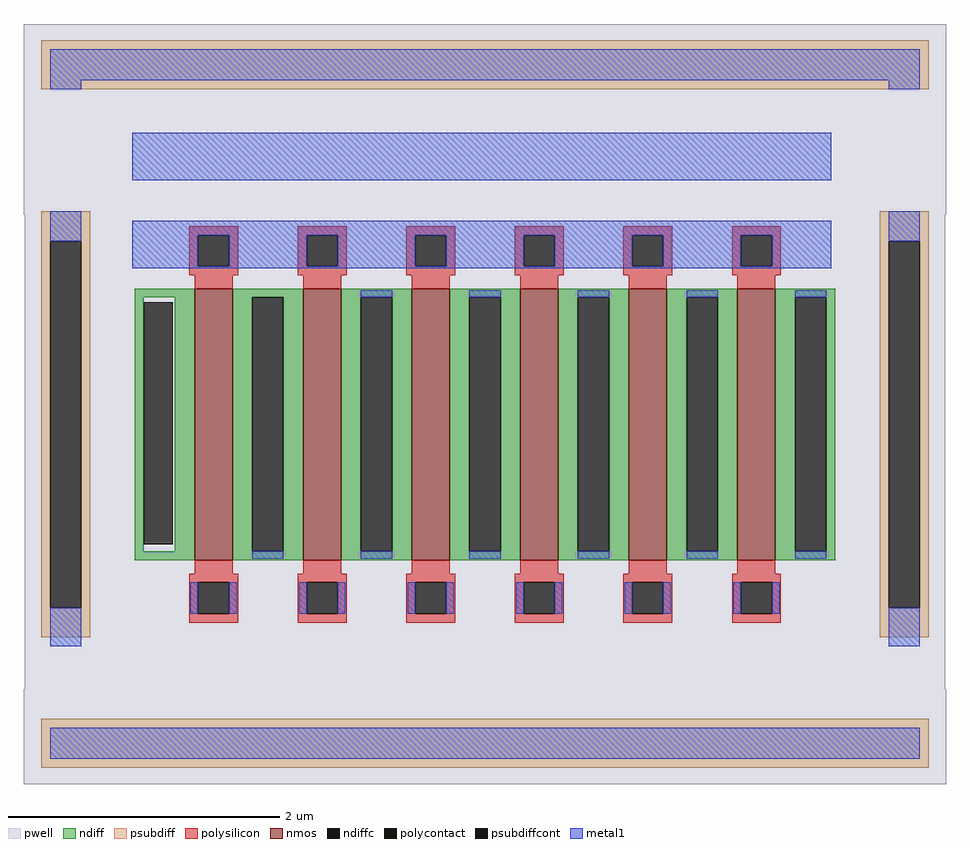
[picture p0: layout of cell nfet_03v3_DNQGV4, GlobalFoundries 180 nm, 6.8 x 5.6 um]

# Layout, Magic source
magic
tech gf180mcuD
magscale 1 10
<< pwell >>
rect -680 310 680 590
rect -678 -390 678 310
rect -680 -530 680 -390
<< nmos >>
rect -428 -200 -372 200
rect -268 -200 -212 200
rect -108 -200 -52 200
rect 52 -200 108 200
rect 212 -200 268 200
rect 372 -200 428 200
<< ndiff >>
rect -516 187 -428 200
rect -516 -187 -503 187
rect -457 -187 -428 187
rect -516 -200 -428 -187
rect -372 187 -268 200
rect -372 -187 -343 187
rect -297 -187 -268 187
rect -372 -200 -268 -187
rect -212 187 -108 200
rect -212 -187 -183 187
rect -137 -187 -108 187
rect -212 -200 -108 -187
rect -52 187 52 200
rect -52 -187 -23 187
rect 23 -187 52 187
rect -52 -200 52 -187
rect 108 187 212 200
rect 108 -187 137 187
rect 183 -187 212 187
rect 108 -200 212 -187
rect 268 187 372 200
rect 268 -187 297 187
rect 343 -187 372 187
rect 268 -200 372 -187
rect 428 187 516 200
rect 428 -187 457 187
rect 503 -187 516 187
rect 428 -200 516 -187
<< ndiffc >>
rect -503 -177 -460 180
rect -343 -187 -297 187
rect -183 -187 -137 187
rect -23 -187 23 187
rect 137 -187 183 187
rect 297 -187 343 187
rect 457 -187 503 187
<< psubdiff >>
rect -654 494 654 566
rect -654 270 -582 314
rect -654 -270 -641 270
rect -595 -270 -582 270
rect 582 270 654 314
rect -654 -314 -582 -270
rect 582 -270 595 270
rect 641 -270 654 270
rect 582 -314 654 -270
rect -654 -506 654 -434
<< psubdiffcont >>
rect -641 -270 -595 270
rect 595 -270 641 270
<< polysilicon >>
rect -436 279 -364 292
rect -436 233 -423 279
rect -377 233 -364 279
rect -436 220 -364 233
rect -276 279 -204 292
rect -276 233 -263 279
rect -217 233 -204 279
rect -276 220 -204 233
rect -116 279 -44 292
rect -116 233 -103 279
rect -57 233 -44 279
rect -116 220 -44 233
rect 44 279 116 292
rect 44 233 57 279
rect 103 233 116 279
rect 44 220 116 233
rect 204 279 276 292
rect 204 233 217 279
rect 263 233 276 279
rect 204 220 276 233
rect 364 279 436 292
rect 364 233 377 279
rect 423 233 436 279
rect 364 220 436 233
rect -428 200 -372 220
rect -268 200 -212 220
rect -108 200 -52 220
rect 52 200 108 220
rect 212 200 268 220
rect 372 200 428 220
rect -428 -220 -372 -200
rect -268 -220 -212 -200
rect -108 -220 -52 -200
rect 52 -220 108 -200
rect 212 -220 268 -200
rect 372 -220 428 -200
rect -436 -233 -364 -220
rect -436 -279 -423 -233
rect -377 -279 -364 -233
rect -436 -292 -364 -279
rect -276 -233 -204 -220
rect -276 -279 -263 -233
rect -217 -279 -204 -233
rect -276 -292 -204 -279
rect -116 -233 -44 -220
rect -116 -279 -103 -233
rect -57 -279 -44 -233
rect -116 -292 -44 -279
rect 44 -233 116 -220
rect 44 -279 57 -233
rect 103 -279 116 -233
rect 44 -292 116 -279
rect 204 -233 276 -220
rect 204 -279 217 -233
rect 263 -279 276 -233
rect 204 -292 276 -279
rect 364 -233 436 -220
rect 364 -279 377 -233
rect 423 -279 436 -233
rect 364 -292 436 -279
<< polycontact >>
rect -423 233 -377 279
rect -263 233 -217 279
rect -103 233 -57 279
rect 57 233 103 279
rect 217 233 263 279
rect 377 233 423 279
rect -423 -279 -377 -233
rect -263 -279 -217 -233
rect -103 -279 -57 -233
rect 57 -279 103 -233
rect 217 -279 263 -233
rect 377 -279 423 -233
<< metal1 >>
rect -641 507 641 553
rect -641 494 -595 507
rect 595 494 641 507
rect -520 360 510 430
rect -641 270 -595 314
rect -520 279 510 300
rect -520 233 -423 279
rect -377 233 -263 279
rect -217 233 -103 279
rect -57 233 57 279
rect 103 233 217 279
rect 263 233 377 279
rect 423 233 510 279
rect -520 230 510 233
rect 595 270 641 314
rect -183 187 -137 198
rect -343 -198 -297 -187
rect -183 -198 -137 -187
rect -23 187 23 198
rect -23 -198 23 -187
rect 137 187 183 198
rect 137 -198 183 -187
rect 297 187 343 198
rect 297 -198 343 -187
rect 457 187 503 198
rect 457 -198 503 -187
rect -641 -327 -595 -270
rect -434 -279 -423 -233
rect -377 -279 -366 -233
rect -274 -279 -263 -233
rect -217 -279 -206 -233
rect -114 -279 -103 -233
rect -57 -279 -46 -233
rect 46 -279 57 -233
rect 103 -279 114 -233
rect 206 -279 217 -233
rect 263 -279 274 -233
rect 366 -279 377 -233
rect 423 -279 434 -233
rect 595 -327 641 -270
rect -641 -493 641 -447
<< properties >>
string FIXED_BBOX -618 -350 618 350
string gencell nfet_03v3
string library gf180mcu
string nfet_03v3_DNQGV4 parameters
string parameters w 2 l 0.280 m 1 nf 6 diffcov 100 polycov 100 guard 1 glc 1 grc 1 gtc 0 gbc 0 tbcov 100 rlcov 100 topc 1 botc 1 poverlap 0 doverlap 1 lmin 0.28 wmin 0.22 class mosfet full_metal 1 compatible {nfet_03v3 nfet_06v0 nfet_06v0_nvt}
<< end >>
